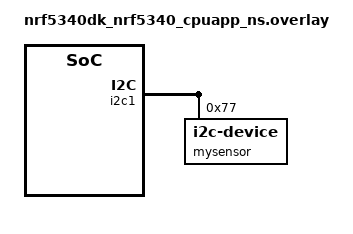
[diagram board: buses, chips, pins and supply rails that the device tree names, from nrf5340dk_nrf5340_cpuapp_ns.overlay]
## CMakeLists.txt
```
cmake_minimum_required(VERSION 3.20.0)
find_package(Zephyr REQUIRED HINTS $ENV{ZEPHYR_BASE})

project(BLE)

target_sources(app PRIVATE src/main.c)
target_sources_ifdef(CONFIG_BLEFUNCTION app PRIVATE src/ble.c)
target_sources_ifdef(CONFIG_I2C app PRIVATE src/i2c.c)
```

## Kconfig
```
source "Kconfig.zephyr"

config BLEFUNCTION
	bool "Enable my function"
	default n
```

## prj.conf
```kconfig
# Logger module
CONFIG_LOG=y

# Button and LED library
CONFIG_DK_LIBRARY=y

# Bluetooth LE
CONFIG_BT=y
CONFIG_BT_PERIPHERAL=y
CONFIG_BT_DEVICE_NAME="Tarush_Peripheral"

#Enable the custon ble library in the build
CONFIG_BLEFUNCTION=y

#Enbale security over BLE
CONFIG_BT_SMP=y

# Increase stack size for the main thread and System Workqueue
CONFIG_SYSTEM_WORKQUEUE_STACK_SIZE=2048
CONFIG_MAIN_STACK_SIZE=2048

# Enable User Phy Update to disable Auto Phy Update that may cause collision with certain devices
CONFIG_BT_USER_PHY_UPDATE=y

# Enable I2C
CONFIG_TFM_SECURE_UART=n
CONFIG_TFM_LOG_LEVEL_SILENCE=y
CONFIG_I2C=y
```

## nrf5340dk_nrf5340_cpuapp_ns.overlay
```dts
// To get started, press Ctrl+Space to bring up the completion menu and view the available nodes.

// You can also use the buttons in the sidebar to perform actions on nodes.
// Actions currently available include:

// * Enabling / disabling the node
// * Adding the bus to a bus
// * Removing the node
// * Connecting ADC channels

// For more help, browse the DeviceTree documentation at https://docs.zephyrproject.org/latest/guides/dts/index.html
// You can also visit the nRF DeviceTree extension documentation at https://docs.nordicsemi.com/bundle/nrf-connect-vscode/page/guides/ncs_configure_app.html#devicetree-support-in-the-extension
&i2c1 {  
    mysensor: mysensor@77{
        compatible = "i2c-device";
        status = "okay";
        reg = < 0x77 >;
    };
};
```

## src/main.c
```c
#include <zephyr/kernel.h>
#include <zephyr/logging/log.h>
#include <zephyr/bluetooth/bluetooth.h>
#include <zephyr/bluetooth/gap.h>
#include <zephyr/bluetooth/uuid.h>
#include <zephyr/bluetooth/conn.h>
#include <dk_buttons_and_leds.h>

#ifdef CONFIG_BLEFUNCTION
#include "ble.h"
#endif

#ifdef CONFIG_BLEFUNCTION
#include "i2c.h"
#endif

#define DEVICE_NAME CONFIG_BT_DEVICE_NAME
#define DEVICE_NAME_LEN (sizeof(DEVICE_NAME) - 1)

#define STACKSIZE 1024
#define PRIORITY 7

#define RUN_STATUS_LED DK_LED1
#define CON_STATUS_LED DK_LED2
/*Button to be controlled*/
#define USER_BUTTON DK_BTN1_MSK
/*Led to be controlled */
#define USER_LED DK_LED3
/*Interval for status led */
#define RUN_LED_BLINK_INTERVAL 1000
/*Interval at which the sensor data is sent*/
#define NOTIFY_INTERVAL 500

LOG_MODULE_REGISTER(Application_code, LOG_LEVEL_INF);

static bool app_button_state;
static uint32_t app_sensor_value = 100;
static uint32_t app_sensor2_value = 300;

/*Function to simulate data*/
static void simulate_data(void)
{
	app_sensor_value++;
	app_sensor2_value++;
	if (app_sensor_value == 200) {
		app_sensor_value = 100;
	}

	if (app_sensor2_value == 500) {
		app_sensor2_value = 500;
	}
}

/*Thread to send sensor data*/
void send_data_thread(void)
{
	while(1){
		/* Simulate data */
		// simulate_data();
		read_sensor_data(&app_sensor_value, &app_sensor2_value);
		/* Send notification, the function sends notifications only if a client is subscribed */
		my_lbs_send_sensor_notify(app_sensor_value);

		my_lbs_send_sensor2_notify(app_sensor2_value);

		k_sleep(K_MSEC(NOTIFY_INTERVAL));
	}
		
}

/*Parmeters for advertising data*/
static const struct bt_le_adv_param *adv_param = BT_LE_ADV_PARAM(
	(BT_LE_ADV_OPT_CONNECTABLE |
	 BT_LE_ADV_OPT_USE_IDENTITY), /* Connectable advertising and use identity address */
	800, /* Min Advertising Interval 500ms (800*0.625ms) */
	801, /* Max Advertising Interval 500.625ms (801*0.625ms) */
	NULL); /* Set to NULL for undirected advertising */

/*Data to be sent during advertising */
static const struct bt_data ad[] = {
	BT_DATA_BYTES(BT_DATA_FLAGS, (BT_LE_AD_GENERAL | BT_LE_AD_NO_BREDR)),
	BT_DATA(BT_DATA_NAME_COMPLETE, DEVICE_NAME, DEVICE_NAME_LEN),

};

/*Data to be sent during a scan response */
static const struct bt_data sd[] = {
	BT_DATA_BYTES(BT_DATA_UUID128_ALL, BT_UUID_LBS_VAL),
};

/* Define the application callback function for controlling the LED */
static void app_led_cb(bool led_state)
{
	dk_set_led(USER_LED, led_state);
}

/* Define the application callback function for reading the state of the button */
static bool app_button_cb(void)
{
	return app_button_state;
}

/* Declare a varaible app_callbacks of type my_lbs_cb and initiate its members to the applications call back functions we developed in steps 8.2 and 9.2. */
static struct my_lbs_cb app_callbacks = {
	.led_cb = app_led_cb,
	.button_cb = app_button_cb,
};

static void button_changed(uint32_t button_state, uint32_t has_changed)
{
	if (has_changed & USER_BUTTON) {
		uint32_t user_button_state = button_state & USER_BUTTON;
                // send indication to button press
                my_lbs_send_button_state_indicate(user_button_state);
		app_button_state = user_button_state ? true : false;
	}
}

/*Callback function to be called when connected */
static void on_connected(struct bt_conn *conn, uint8_t err)
{
	if (err) {
		printk("Connection failed (err %u)\n", err);
		return;
	}

	printk("Connected\n");

	dk_set_led_on(CON_STATUS_LED);
}

/*Callback function to be called when disconnected*/
static void on_disconnected(struct bt_conn *conn, uint8_t reason)
{
	printk("Disconnected (reason %u)\n", reason);

	dk_set_led_off(CON_STATUS_LED);
}

/*Callback fucntion to be called when security changed*/
static void on_security_changed(struct bt_conn *conn, bt_security_t level, enum bt_security_err err)
{
	char addr[BT_ADDR_LE_STR_LEN];

	bt_addr_le_to_str(bt_conn_get_dst(conn), addr, sizeof(addr));

	if (!err) {
		LOG_INF("Security changed: %s level %u\n", addr, level);
	} else {
		LOG_INF("Security failed: %s level %u err %d\n", addr, level, err);
	}
}

/*Register the connected and disconnected callbacks*/
struct bt_conn_cb connection_callbacks = {
	/*BLE pairing successful*/
	.connected = on_connected,
	/*BLE connection diconnected*/
	.disconnected = on_disconnected,
	/*Security protocol changed */
	.security_changed = on_security_changed,
};

/*Function to print the passkey for central device*/
static void auth_passkey_display(struct bt_conn *conn, unsigned int passkey)
{
	char addr[BT_ADDR_LE_STR_LEN];
	bt_addr_le_to_str(bt_conn_get_dst(conn), addr, sizeof(addr));
	LOG_INF("Passkey for %s: %06u\n", addr, passkey);
}

/*Function to nptify when the pairing process has failed*/
static void auth_cancel(struct bt_conn *conn)
{
	char addr[BT_ADDR_LE_STR_LEN];
	bt_addr_le_to_str(bt_conn_get_dst(conn), addr, sizeof(addr));
	LOG_INF("Pairing cancelled: %s\n", addr);
}

/*Declare the authentication callback structure*/
static struct bt_conn_auth_cb conn_auth_callbacks = {
	.passkey_display = auth_passkey_display,
	.cancel = auth_cancel,
};


static int init_button(void)
{
	int err;

	err = dk_buttons_init(button_changed);
	if (err) {
		printk("Cannot init buttons (err: %d)\n", err);
	}

	return err;
}

int main(void)
{	
	int blink_status = 0;
	int err;

	LOG_INF("Starting Application Code");

	err = dk_leds_init();
	if (err) {
		LOG_ERR("LEDs init failed (err %d)\n", err);
		return -1;
	}

	err = init_button();
	if (err) {
		printk("Button init failed (err %d)\n", err);
		return -1;
	}

	err = i2c_init();
    if (err) {
        LOG_ERR("I2C init failed (err %d)\n", err);
        return -1;
    }

	err = bt_enable(NULL);
	if (err) {
		LOG_ERR("Bluetooth init failed (err %d)\n", err);
		return -1;
	}

	err = bt_conn_auth_cb_register(&conn_auth_callbacks);
	if (err) {
		LOG_INF("Failed to register authorization callbacks.\n");
		return -1;
	}
	
	bt_conn_cb_register(&connection_callbacks);

        err = my_lbs_init(&app_callbacks);
	if (err) {
		printk("Failed to init LBS (err:%d)\n", err);
		return -1;
	}

	LOG_INF("Bluetooth initialized\n");
	err = bt_le_adv_start(adv_param, ad, ARRAY_SIZE(ad), sd, ARRAY_SIZE(sd));
	if (err) {
		LOG_ERR("Advertising failed to start (err %d)\n", err);
		return -1;
	}

	LOG_INF("Advertising successfully started\n");

	while(1){
		dk_set_led(RUN_STATUS_LED, (++blink_status) % 2);
		k_sleep(K_MSEC(RUN_LED_BLINK_INTERVAL));
	}
}

/*Thread defined to send sensor data*/
K_THREAD_DEFINE(send_data_thread_id, STACKSIZE, send_data_thread, NULL, NULL, NULL, PRIORITY, 0, 0);
```

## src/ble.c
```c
/**************************************************************************//**
* @file      ble.c
* @brief     Template for ESE516 with Doxygen-style comments
* @author    Tarush Sharma
* @date      2024-07-11

******************************************************************************/


/******************************************************************************
* Includes
******************************************************************************/
#include <zephyr/types.h>
#include <stddef.h>
#include <string.h>
#include <errno.h>
#include <zephyr/sys/printk.h>
#include <zephyr/sys/byteorder.h>
#include <zephyr/kernel.h>
#include <zephyr/logging/log.h>
#include <zephyr/bluetooth/bluetooth.h>
#include <zephyr/bluetooth/hci.h>
#include <zephyr/bluetooth/conn.h>
#include <zephyr/bluetooth/uuid.h>
#include <zephyr/bluetooth/gatt.h>

#include "ble.h"
/******************************************************************************
* Defines
******************************************************************************/
LOG_MODULE_DECLARE(Application_code);
/******************************************************************************
* Variables
******************************************************************************/
static bool button_state;
static bool indicate_enabled;
static bool notify_mysensor_enabled;
static bool notify_mysensor2_enabled;
static struct my_lbs_cb lbs_cb;

static struct bt_gatt_indicate_params ind_params;

/*Callback function for configuration change of button characteristic*/
static void mylbsbc_ccc_cfg_changed(const struct bt_gatt_attr *attr,
				  uint16_t value)
{
	indicate_enabled = (value == BT_GATT_CCC_INDICATE);
}

/*Configuration change callback function for the MYSENSOR characteristic */
static void mylbsbc_ccc_mysensor_cfg_changed(const struct bt_gatt_attr *attr, uint16_t value)
{
	notify_mysensor_enabled = (value == BT_GATT_CCC_NOTIFY);
}

static void mylbsbc_ccc_mysensor2_cfg_changed(const struct bt_gatt_attr *attr, uint16_t value)
{
	notify_mysensor2_enabled = (value == BT_GATT_CCC_NOTIFY);
}

// This function is called when a remote device has acknowledged the indication at its host layer
static void indicate_cb(struct bt_conn *conn, struct bt_gatt_indicate_params *params, uint8_t err)
{
	LOG_DBG("Indication %s\n", err != 0U ? "fail" : "success");
}

/* Implemented the write callabck function*/
static ssize_t write_led(struct bt_conn *conn,
			 const struct bt_gatt_attr *attr,
			 const void *buf,
			 uint16_t len, uint16_t offset, uint8_t flags)
{
	LOG_DBG("Attribute write, handle: %u, conn: %p", attr->handle,
		(void *)conn);

	if (len != 1U) {
		LOG_DBG("Write led: Incorrect data length");
		return BT_GATT_ERR(BT_ATT_ERR_INVALID_ATTRIBUTE_LEN);
	}

	if (offset != 0) {
		LOG_DBG("Write led: Incorrect data offset");
		return BT_GATT_ERR(BT_ATT_ERR_INVALID_OFFSET);
	}

	if (lbs_cb.led_cb) {
		//Read the received value 
		uint8_t val = *((uint8_t *)buf);

		if (val == 0x00 || val == 0x01) {
			//Call the application callback function to update the LED state
			lbs_cb.led_cb(val ? true : false);
		} else {
			LOG_DBG("Write led: Incorrect value");
			return BT_GATT_ERR(BT_ATT_ERR_VALUE_NOT_ALLOWED);
		}
	}

	return len;
}

/* Implement the read callback function of the Button characteristic */
static ssize_t read_button(struct bt_conn *conn, const struct bt_gatt_attr *attr, void *buf,
			   uint16_t len, uint16_t offset)
{
	// get a pointer to button_state which is passed in the BT_GATT_CHARACTERISTIC() and stored in attr->user_data
	const char *value = attr->user_data;

	LOG_DBG("Attribute read, handle: %u, conn: %p", attr->handle, (void *)conn);

	if (lbs_cb.button_cb) {
		// Call the application callback function to update the get the current value of the button
		button_state = lbs_cb.button_cb();
		return bt_gatt_attr_read(conn, attr, buf, len, offset, value, sizeof(*value));
	}

	return 0;
}

/*Defined the LBS Service to the Bluetooth LE Stack*/
BT_GATT_SERVICE_DEFINE(my_lbs_svc, BT_GATT_PRIMARY_SERVICE(BT_UUID_LBS),
		        /* Add the Button characteristic to support indication */
		        BT_GATT_CHARACTERISTIC(BT_UUID_LBS_BUTTON, BT_GATT_CHRC_READ | BT_GATT_CHRC_INDICATE,
					      BT_GATT_PERM_READ_AUTHEN, read_button, NULL, &button_state),
                /*Add the client characteristic configurator descriptor*/
                BT_GATT_CCC(mylbsbc_ccc_cfg_changed, BT_GATT_PERM_READ | BT_GATT_PERM_WRITE),            
		        /* Add the LED characteristic. */
		        BT_GATT_CHARACTERISTIC(BT_UUID_LBS_LED, BT_GATT_CHRC_WRITE,
					      BT_GATT_PERM_WRITE_AUTHEN, NULL, write_led, NULL),
                /* Add the Sensor characteristic*/
                BT_GATT_CHARACTERISTIC(BT_UUID_LBS_MYSENSOR,
			            BT_GATT_CHRC_NOTIFY,
			            BT_GATT_PERM_NONE, NULL, NULL,
			            NULL),
                /*Add the client characteristic configurator descriptor*/
	            BT_GATT_CCC(mylbsbc_ccc_mysensor_cfg_changed,
		                BT_GATT_PERM_READ_AUTHEN | BT_GATT_PERM_WRITE_AUTHEN),
				
				/* Add the econd Sensor characteristic*/
                BT_GATT_CHARACTERISTIC(BT_UUID_LBS_MYSENSOR2,
			            BT_GATT_CHRC_NOTIFY,
			            BT_GATT_PERM_NONE, NULL, NULL,
			            NULL),
                /*Add the client characteristic configurator descriptor*/
	            BT_GATT_CCC(mylbsbc_ccc_mysensor2_cfg_changed,
		                BT_GATT_PERM_READ_AUTHEN | BT_GATT_PERM_WRITE_AUTHEN),

);

/* A function to register application callbacks for the LED and Button characteristics  */
int my_lbs_init(struct my_lbs_cb *callbacks)
{
	if (callbacks) {
		lbs_cb.led_cb = callbacks->led_cb;
		lbs_cb.button_cb = callbacks->button_cb;
	}

	return 0;
}

/*Function to send indications*/
int my_lbs_send_button_state_indicate(bool button_state)
{
	if (!indicate_enabled) {
		return -EACCES;
	}
	ind_params.attr = &my_lbs_svc.attrs[2];
	ind_params.func = indicate_cb; // A remote device has ACKed at its host layer (ATT ACK)
	ind_params.destroy = NULL;
	ind_params.data = &button_state;
	ind_params.len = sizeof(button_state);
	return bt_gatt_indicate(NULL, &ind_params);
}

/* Function to check if central has subscribed to sensor 1 value characteristic*/
int my_lbs_send_sensor_notify(uint32_t sensor_value)
{
	if (!notify_mysensor_enabled) {
		return -EACCES;
	}

	return bt_gatt_notify(NULL, &my_lbs_svc.attrs[7], 
			      &sensor_value,
			      sizeof(sensor_value));
}

/* Function to check if central has subscribed to sensor 1 value characteristic*/
int my_lbs_send_sensor2_notify(uint32_t sensor_value)
{
	if (!notify_mysensor2_enabled) {
		return -EACCES;
	}

	return bt_gatt_notify(NULL, &my_lbs_svc.attrs[10], 
			      &sensor_value,
			      sizeof(sensor_value));
}
```

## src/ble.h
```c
/**************************************************************************//**
* @file      ble.h
* @brief     Template for ESE516 with Doxygen-style comments
* @author    Tarush Sharma
* @date      2024-11-07

******************************************************************************/

#pragma once
#ifdef __cplusplus
extern "C" {
#endif

/******************************************************************************
* Includes
******************************************************************************/
#include <zephyr/types.h>
/******************************************************************************
* Defines
******************************************************************************/
#define BT_UUID_LBS_VAL \
	BT_UUID_128_ENCODE(0x00001523, 0x1212, 0xefde, 0x1523, 0x785feabcd123)

/** @brief Button Characteristic UUID. */
#define BT_UUID_LBS_BUTTON_VAL \
	BT_UUID_128_ENCODE(0x00001524, 0x1212, 0xefde, 0x1523, 0x785feabcd123)

/** @brief LED Characteristic UUID. */
#define BT_UUID_LBS_LED_VAL \
	BT_UUID_128_ENCODE(0x00001525, 0x1212, 0xefde, 0x1523, 0x785feabcd123)

/** @brief Sensor Characteristic UUID. */
#define BT_UUID_LBS_MYSENSOR_VAL \
	BT_UUID_128_ENCODE(0x00001526, 0x1212, 0xefde, 0x1523, 0x785feabcd123)    

/** @brief Sensor Characteristic UUID. */
#define BT_UUID_LBS_MYSENSOR2_VAL \
	BT_UUID_128_ENCODE(0x00001527, 0x1212, 0xefde, 0x1523, 0x785feabcd123)  

/*Converting array to generic UUID*/
#define BT_UUID_LBS           BT_UUID_DECLARE_128(BT_UUID_LBS_VAL)
#define BT_UUID_LBS_BUTTON    BT_UUID_DECLARE_128(BT_UUID_LBS_BUTTON_VAL)
#define BT_UUID_LBS_LED       BT_UUID_DECLARE_128(BT_UUID_LBS_LED_VAL)
#define BT_UUID_LBS_MYSENSOR       BT_UUID_DECLARE_128(BT_UUID_LBS_MYSENSOR_VAL)
#define BT_UUID_LBS_MYSENSOR2       BT_UUID_DECLARE_128(BT_UUID_LBS_MYSENSOR2_VAL)
/******************************************************************************
* Structures and Enumerations
******************************************************************************/
/** @brief Callback type for when an LED state change is received. */
typedef void (*led_cb_t)(const bool led_state);

/** @brief Callback type for when the button state is pulled. */
typedef bool (*button_cb_t)(void);

/** @brief sttructure used by the LBS service*/
struct my_lbs_cb {
	/** LED state change callback. */
	led_cb_t led_cb;
	/** Button read callback. */
	button_cb_t button_cb;
};



/******************************************************************************
* Global Function Declaration
******************************************************************************/
/** @brief function used to initilase the lbs service */
int my_lbs_init(struct my_lbs_cb *callbacks);

/** @brief function used to indicate the button state */
int my_lbs_send_button_state_indicate(bool button_state);

/** @brief  function used to send notification value to sensor charcateristic*/
int my_lbs_send_sensor_notify(uint32_t sensor_value);

int my_lbs_send_sensor2_notify(uint32_t sensor_value);

#ifdef __cplusplus
}
#endif
```

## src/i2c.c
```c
#include "i2c.h"
#include <zephyr/kernel.h>
#include <zephyr/logging/log.h>

LOG_MODULE_REGISTER(i2c_module, LOG_LEVEL_INF);

#define I2C_NODE DT_NODELABEL(i2c1)

static const struct device *i2c_dev;

int i2c_init(void)
{
    i2c_dev = DEVICE_DT_GET(I2C_NODE);
    if (!device_is_ready(i2c_dev)) {
        LOG_ERR("I2C device not ready");
        return -1;
    }
    return 0;
}

void read_sensor_data(uint32_t *sensor1_value, uint32_t *sensor2_value)
{
    uint8_t data[2];
    int ret;

    // Read from Sensor 1
    ret = i2c_read(i2c_dev, data, sizeof(data), SENSOR1_ADDR);
    if (ret == 0) {
        *sensor1_value = (data[0] << 8) | data[1];
    } else {
        LOG_ERR("Failed to read Sensor 1");
    }

    // Read from Sensor 2
    ret = i2c_read(i2c_dev, data, sizeof(data), SENSOR2_ADDR);
    if (ret == 0) {
        *sensor2_value = (data[0] << 8) | data[1];
    } else {
        LOG_ERR("Failed to read Sensor 2");
    }
}
```

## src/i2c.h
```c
#ifndef I2C_H
#define I2C_H

#include <zephyr/drivers/i2c.h>

#define SENSOR1_ADDR 0x77
#define SENSOR2_ADDR 0x70

int i2c_init(void);
void read_sensor_data(uint32_t *sensor1_value, uint32_t *sensor2_value);

#endif // I2C_H
```
